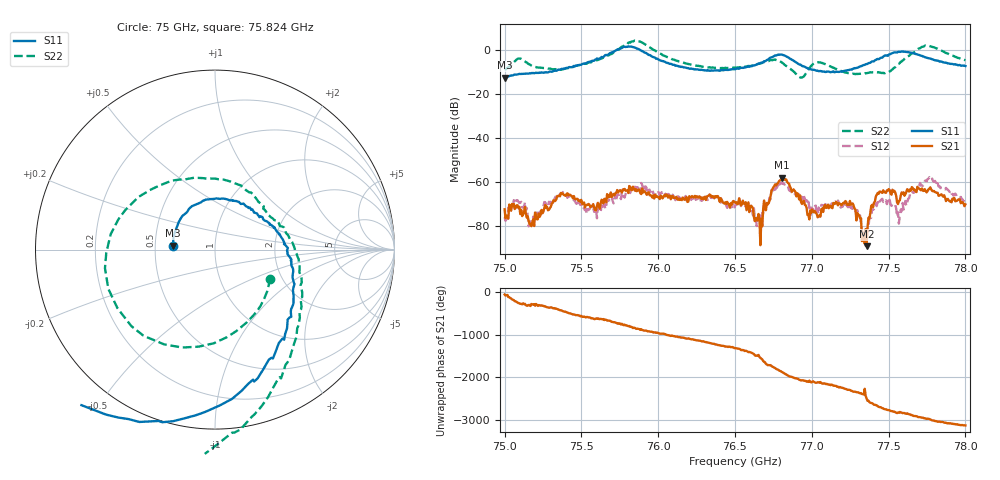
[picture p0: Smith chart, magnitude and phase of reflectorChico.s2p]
# Hz S MA R 50
! CMT, C4420, 21421029, 25.1.2/3
! Date: 8/4/2025 4:29:33 PM
! Data: Format (Calibration Info)
! Freq	S33:Mag/Ang(F2)	S43:Mag/Ang(F2)	S34:Mag/Ang(F2)	S44:Mag/Ang(F2)
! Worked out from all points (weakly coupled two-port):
!   500 points, 75 GHz to 78 GHz, reference 50 ohm
!   highest |S21| = -58.13 dB at 76.804 GHz (marker M1); lowest = -89.4 dB at 77.357 GHz (marker M2)
!   lowest |S11| = -12.6 dB at 75 GHz (marker M3), VSWR 1.61, Z = 31.1 + j1.48 ohm
!   |S11| at or under -10 dB: start of sweep to 75.29131 GHz; 77.08332 GHz to 77.09535 GHz (12.03 MHz wide, 0.0156 % of centre); 77.11432 GHz to 77.1357 GHz (21.38 MHz wide, 0.0277 % of centre) (the widest 3 of 5)
!   |S22| runs from -12.7 to 4.3 dB; largest |S21 - S12| = 0.00063
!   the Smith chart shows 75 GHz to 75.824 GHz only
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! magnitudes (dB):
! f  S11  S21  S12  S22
! 75 GHz  -12.6  -72.6  -76.2  -9.2
! 75.072 GHz  -11.3  -71.9  -68.7  -4.8
! 75.18 GHz  -10.6  -78.5  -79.0  -7.4
! 75.373 GHz  -8.6  -65.6  -65.6  -9.0
! 75.505 GHz  -6.5  -70.2  -72.0  -6.6
! 75.613 GHz  -4.1  -70.9  -71.8  -4.3
! 75.848 GHz  1.0  -64.1  -62.3  4.2
! 76.004 GHz  -4.5  -67.1  -65.2  -1.4
! 76.503 GHz  -8.8  -69.6  -70.6  -8.1
! 76.665 GHz  -6.0  -88.9  -75.4  -6.2
! 76.749 GHz  -3.0  -62.6  -64.0  -4.6
! 76.804 GHz  -2.2  -58.1  -60.5  -5.8
! 76.93 GHz  -6.9  -69.3  -67.9  -12.7
! 77.002 GHz  -9.0  -72.7  -73.4  -6.9
! 77.158 GHz  -9.9  -69.2  -69.6  -8.7
! 77.261 GHz  -9.0  -70.2  -72.3  -10.9
! 77.357 GHz  -6.5  -89.4  -80.3  -10.7
! 77.429 GHz  -4.2  -65.1  -69.3  -10.3
! 77.501 GHz  -2.2  -63.4  -69.7  -10.1
! 77.567 GHz  -0.9  -68.8  -79.1  -6.4
! 77.772 GHz  -4.0  -62.6  -58.9  1.6
! 78 GHz  -7.4  -70.4  -68.0  -4.7
